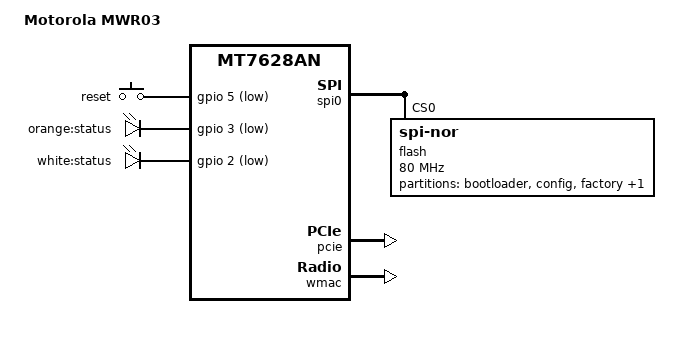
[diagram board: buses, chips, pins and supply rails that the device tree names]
// SPDX-License-Identifier: GPL-2.0-or-later OR MIT

#include "mt7628an.dtsi"

#include <dt-bindings/gpio/gpio.h>
#include <dt-bindings/input/input.h>

/ {
	model = "Motorola MWR03";
	compatible = "motorola,mwr03", "mediatek,mt7628an-soc";

	aliases {
		led-boot = &led_status_orange;
		led-failsafe = &led_status_orange;
		led-running = &led_status_white;
		led-upgrade = &led_status_orange;
	};

	keys {
		compatible = "gpio-keys";

		reset {
			label = "reset";
			gpios = <&gpio 5 GPIO_ACTIVE_LOW>;
			linux,code = <KEY_RESTART>;
		};
	};

	leds {
		compatible = "gpio-leds";

		led_status_orange: status_orange {
			label = "orange:status";
			gpios = <&gpio 3 GPIO_ACTIVE_LOW>;
		};

		led_status_white: status_white {
			label = "white:status";
			gpios = <&gpio 2 GPIO_ACTIVE_LOW>;
		};
	};
};

&spi0 {
	status = "okay";

	flash@0 {
		compatible = "jedec,spi-nor";
		reg = <0>;
		spi-max-frequency = <80000000>;
		m25p,fast-read;

		partitions {
			compatible = "fixed-partitions";
			#address-cells = <1>;
			#size-cells = <1>;

			partition@0 {
				label = "bootloader";
				reg = <0x0 0x30000>;
				read-only;
			};

			partition@30000 {
				label = "config";
				reg = <0x30000 0x10000>;
				read-only;
			};

			factory: partition@40000 {
				label = "factory";
				reg = <0x40000 0x10000>;
				read-only;
			};

			partition@50000 {
				compatible = "denx,uimage";
				label = "firmware";
				reg = <0x50000 0x7b0000>;
			};
		};
	};
};

&state_default {
	gpio {
		groups = "i2c", "i2s";
		function = "gpio";
	};
};

&usbphy {
	status = "disabled";
};

&ehci {
	status = "disabled";
};

&ohci {
	status = "disabled";
};

&ethernet {
	nvmem-cells = <&macaddr_factory_4>;
	nvmem-cell-names = "mac-address";
	mac-address-increment = <(-1)>;
};

&esw {
	mediatek,portmap = <0x3e>;
	mediatek,portdisable = <0x30>;
};

&pcie {
	status = "okay";
};

&pcie0 {
	wifi@0,0 {
		reg = <0x0000 0 0 0 0>;
		mediatek,mtd-eeprom = <&factory 0x8000>;
		ieee80211-freq-limit = <5000000 6000000>;
	};
};

&wmac {
	status = "okay";

	mediatek,mtd-eeprom = <&factory 0x0>;
};

&factory {
	compatible = "nvmem-cells";
	#address-cells = <1>;
	#size-cells = <1>;

	macaddr_factory_4: macaddr@4 {
		reg = <0x4 0x6>;
	};
};
